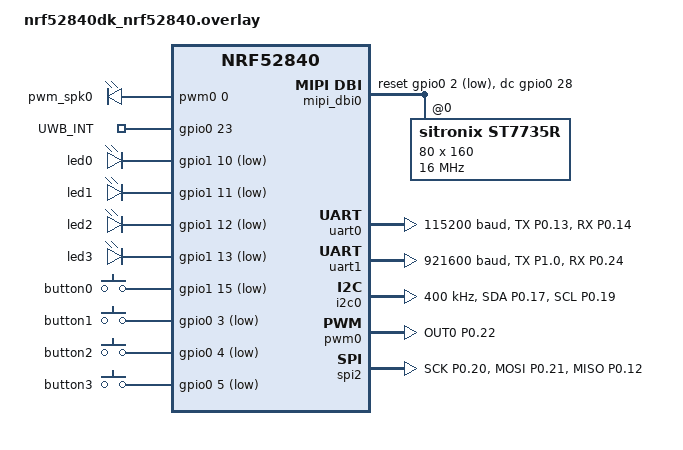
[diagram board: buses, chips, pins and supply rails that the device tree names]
/*
 * Copyright (c) 2026 Nordic Semiconductor ASA
 * Copyright (c) 2026 Shenzhen Geezpai Technology Co., Ltd.
 *
 * SPDX-License-Identifier: LicenseRef-Nordic-5-Clause
 */

/ {
        aliases {
                pwm-spk = &pwm_spk0;
                uwb-int = &uwb_irq;
        };

	chosen {
		zephyr,console = &uart0;
		zephyr,shell-uart = &uart0;
		zephyr,display = &st7735r;
                uci,interface = &uart1;
	};

	mipi_dbi0: mipi_dbi0 {
		compatible = "zephyr,mipi-dbi-spi";
		status = "okay";
		#address-cells = <1>;
		#size-cells = <0>;
		spi-dev = <&spi2>;
		dc-gpios = <&gpio0 28 GPIO_ACTIVE_HIGH>;
		reset-gpios = <&gpio0 2 GPIO_ACTIVE_LOW>;
		write-only;
	};

        pwmspk {
                compatible = "pwm-leds";

                pwm_spk0: pwm-spk-0 {
                        pwms = <&pwm0 0 PWM_MSEC(20) PWM_POLARITY_NORMAL>;
                };
        };

        uwb_int0: uwb_int0 {
                compatible = "gpio-keys";

                uwb_irq: uwb_irq {
                        gpios = <&gpio0 23 GPIO_ACTIVE_HIGH>;
                        label = "UWB_INT";
                };
        };
};

&pinctrl {
	uart0_default: uart0_default {
		group1 {
			psels = <NRF_PSEL(UART_TX, 0, 13)>,
				<NRF_PSEL(UART_RX, 0, 14)>;
		};
	};

	uart0_sleep: uart0_sleep {
		group1 {
			psels = <NRF_PSEL(UART_TX, 0, 13)>,
				<NRF_PSEL(UART_RX, 0, 14)>;
			low-power-enable;
		};
	};

        uart1_uwb_default: uart1_uwb_default {
                group1 {
                        psels = <NRF_PSEL(UART_TX, 1, 0)>,
                                <NRF_PSEL(UART_RX, 0, 24)>;
                };
        };

        uart1_uwb_sleep: uart1_uwb_sleep {
                group1 {
                        psels = <NRF_PSEL(UART_TX, 1, 0)>,
                                <NRF_PSEL(UART_RX, 0, 24)>;
                        low-power-enable;
                };
        };

	i2c0_da217_default: i2c0_da217_default {
		group1 {
			psels = <NRF_PSEL(TWIM_SDA, 0, 17)>,
				<NRF_PSEL(TWIM_SCL, 0, 19)>;
		};
	};

	i2c0_da217_sleep: i2c0_da217_sleep {
		group1 {
			psels = <NRF_PSEL(TWIM_SDA, 0, 17)>,
				<NRF_PSEL(TWIM_SCL, 0, 19)>;
			low-power-enable;
		};
	};

        pwm0_buzzer_default: pwm0_buzzer_default {
                group1 {
                        psels = <NRF_PSEL(PWM_OUT0, 0, 22)>;
                };
        };

        pwm0_buzzer_sleep: pwm0_buzzer_sleep {
                group1 {
                        psels = <NRF_PSEL(PWM_OUT0, 0, 22)>;
                        low-power-enable;
                };
        };

	spi2_lcd_default: spi2_lcd_default {
		group1 {
			psels = <NRF_PSEL(SPIM_SCK, 0, 20)>,
				<NRF_PSEL(SPIM_MOSI, 0, 21)>,
				<NRF_PSEL(SPIM_MISO, 0, 12)>;
		};
	};

	spi2_lcd_sleep: spi2_lcd_sleep {
		group1 {
			psels = <NRF_PSEL(SPIM_SCK, 0, 20)>,
				<NRF_PSEL(SPIM_MOSI, 0, 21)>,
				<NRF_PSEL(SPIM_MISO, 0, 12)>;
			low-power-enable;
		};
	};
};

&uart0 {
	status = "okay";
	current-speed = <115200>;
	pinctrl-0 = <&uart0_default>;
	pinctrl-1 = <&uart0_sleep>;
	pinctrl-names = "default", "sleep";
};

&uart1 {
        status = "okay";
        current-speed = <921600>;
        pinctrl-0 = <&uart1_uwb_default>;
        pinctrl-1 = <&uart1_uwb_sleep>;
        pinctrl-names = "default", "sleep";
};

&gpio0 {
        gpio-reserved-ranges = <0 2>, <6 1>, <8 3>;
};

&i2c0 {
	compatible = "nordic,nrf-twi";
	status = "okay";
	clock-frequency = <400000>;
	pinctrl-0 = <&i2c0_da217_default>;
	pinctrl-1 = <&i2c0_da217_sleep>;
	pinctrl-names = "default", "sleep";
};

&pwm0 {
        status = "okay";
        pinctrl-0 = <&pwm0_buzzer_default>;
        pinctrl-1 = <&pwm0_buzzer_sleep>;
        pinctrl-names = "default", "sleep";
};

&spi2 {
	status = "okay";
	cs-gpios = <&gpio0 29 GPIO_ACTIVE_LOW>;
	pinctrl-0 = <&spi2_lcd_default>;
	pinctrl-1 = <&spi2_lcd_sleep>;
	pinctrl-names = "default", "sleep";
};

&mipi_dbi0 {
	st7735r: st7735r@0 {
		compatible = "sitronix,st7735r";
		status = "okay";
		reg = <0>;
                mipi-max-frequency = <16000000>;
		mipi-mode = "MIPI_DBI_MODE_SPI_4WIRE";
		color-coding = "MIPI_DBI_MODE_RGB565";
		width = <80>;
		height = <160>;
                x-offset = <24>;
                y-offset = <0>;
                madctl = <0xc8>;
		colmod = <0x05>;
                invctr = <0x07>;
                vmctr1 = <0x0e>;
                pwctr1 = [a2 02 84];
                pwctr2 = [c5];
                pwctr3 = [0a 00];
                pwctr4 = [8a 2a];
                pwctr5 = [8a ee];
                frmctr1 = [01 2c 2d];
                frmctr2 = [01 2c 2d];
                frmctr3 = [01 2c 2d 01 2c 2d];
		caset = [00 00 00 4f];
		raset = [00 00 00 9f];
		gamctrp1 = [02 1c 07 12 37 32 29 2d 29 25 2b 39 00 01 03 10];
		gamctrn1 = [03 1d 07 06 2e 2c 29 2d 2e 2e 37 3f 00 00 02 10];
	};
};

&led0 {
	gpios = <&gpio1 10 GPIO_ACTIVE_LOW>;
};

&led1 {
	gpios = <&gpio1 11 GPIO_ACTIVE_LOW>;
};

&led2 {
	gpios = <&gpio1 12 GPIO_ACTIVE_LOW>;
};

&led3 {
	gpios = <&gpio1 13 GPIO_ACTIVE_LOW>;
};

&button0 {
	gpios = <&gpio1 15 (GPIO_PULL_UP | GPIO_ACTIVE_LOW)>;
};

&button1 {
	gpios = <&gpio0 3 (GPIO_PULL_UP | GPIO_ACTIVE_LOW)>;
};

&button2 {
	gpios = <&gpio0 4 (GPIO_PULL_UP | GPIO_ACTIVE_LOW)>;
};

&button3 {
	gpios = <&gpio0 5 (GPIO_PULL_UP | GPIO_ACTIVE_LOW)>;
};

&flash0 {
	/* Redefine the "partitions" DTS node. */
	/delete-node/ partitions;

	partitions {
		compatible = "fixed-partitions";
		#address-cells = <1>;
		#size-cells = <1>;

		boot_partition: partition@0 {
			label = "mcuboot";
			reg = <0x0 DT_SIZE_K(16)>;
		};

		slot0_partition: partition@4000 {
			label = "image-0";
			reg = <0x4000 DT_SIZE_K(496)>;
		};

		slot1_partition: partition@80000 {
			label = "image-1";
			reg = <0x80000 DT_SIZE_K(496)>;
		};

		bt_fast_pair_partition: partition@fc000 {
			reg = <0xfc000 DT_SIZE_K(4)>;
		};

		storage_partition: partition@fd000 {
			label = "storage";
			reg = <0xfd000 DT_SIZE_K(12)>;
		};
	};
};

secondary_app_partition: &slot1_partition {};
